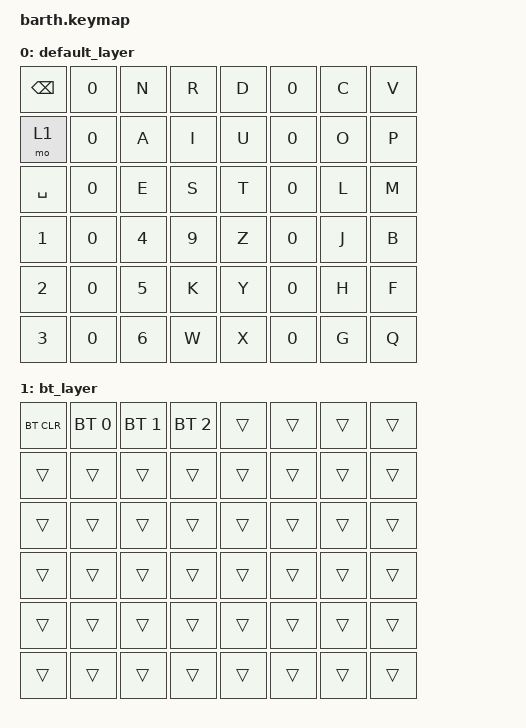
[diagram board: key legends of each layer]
#include <behaviors.dtsi>
#include <dt-bindings/zmk/keys.h>
#include <dt-bindings/zmk/bt.h>

/ {
    keymap {
        compatible = "zmk,keymap";

        default_layer {
            bindings = <
                &kp BACKSPACE    &kp N0    &kp N     &kp R     &kp D    &kp N0    &kp C     &kp V
                &mo 1            &kp N0    &kp A     &kp I     &kp U    &kp N0    &kp O     &kp P
                &kp SPACE        &kp N0    &kp E     &kp S     &kp T    &kp N0    &kp L     &kp M

                &kp N1   &kp N0   &kp N4     &kp N9     &kp Z    &kp N0   &kp J     &kp B
                &kp N2   &kp N0   &kp N5     &kp K      &kp Y    &kp N0   &kp H     &kp F
                &kp N3   &kp N0   &kp N6     &kp W     &kp X    &kp N0   &kp G      &kp Q
            >;
        };

        bt_layer {
            bindings = <
                &bt BT_CLR    &bt BT_SEL 0  &bt BT_SEL 1  &bt BT_SEL 2  &trans   &trans   &trans    &trans
                &trans        &trans        &trans        &trans        &trans   &trans   &trans    &trans
                &trans        &trans        &trans        &trans        &trans   &trans   &trans    &trans
                &trans        &trans        &trans        &trans        &trans   &trans   &trans    &trans
                &trans        &trans        &trans        &trans        &trans   &trans   &trans    &trans
                &trans        &trans        &trans        &trans        &trans   &trans   &trans    &trans
            >;
        };
    };
};
